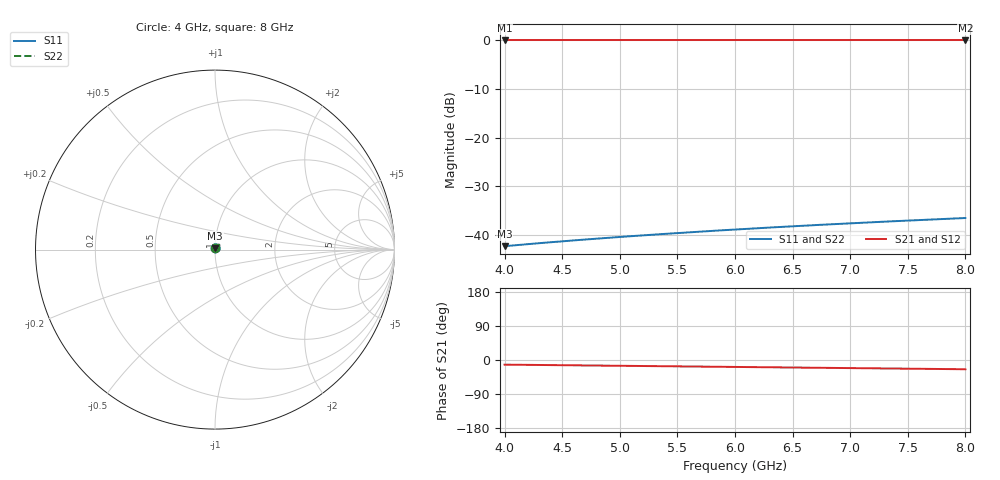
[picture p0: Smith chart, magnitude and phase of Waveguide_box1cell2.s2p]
! Sonnet Data File
! From: emgraph Version : 16.52
! From Emgraph Data: Waveguide
! Data File Written: 09/13/2017 14:16:36
!< HDATE 09/13/2017 14:07:04
!< MDATE 09/13/2017 14:07:04
# GHZ S MA R 50.00000
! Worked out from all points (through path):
!   201 points, 4 GHz to 8 GHz, reference 50 ohm
!   highest |S21| = 0.00 dB at 4 GHz (marker M1); lowest = 0.0 dB at 8 GHz (marker M2)
!   group delay of S21, straight-line fit = 8.47 ps
!   lowest |S11| = -42.4 dB at 4 GHz (marker M3), VSWR 1.02, Z = 50.2 + j0.745 ohm
!   |S11| at or under -10 dB: start of sweep to end of sweep
!   |S22| runs from -42.4 to -36.6 dB; largest |S21 - S12| = 0
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4  0.007594 77.8  1 -12.2  1 -12.2  0.007594 77.8
!< P1 F=4.0 Eeff=(6.44988538 -2.9748e-5) Z0=(51.8300796 1.19533e-4) R=0.0 C=0.0
!< P2 F=4.0 Eeff=(6.44988538 -2.9748e-5) Z0=(51.8300796 1.19533e-4) R=0.0 C=0.0
4.16  0.007892 77.3  1 -12.7  1 -12.7  0.007892 77.3
4.18  0.00793 77.2  1 -12.8  1 -12.8  0.00793 77.2
4.32  0.00819 76.8  1 -13.2  1 -13.2  0.00819 76.8
4.5  0.008524 76.3  1 -13.7  1 -13.7  0.008524 76.3
4.68  0.008857 75.7  1 -14.3  1 -14.3  0.008857 75.7
4.84  0.009153 75.2  1 -14.8  1 -14.8  0.009153 75.2
4.98  0.009411 74.8  1 -15.2  1 -15.2  0.009411 74.8
5.14  0.009705 74.3  1 -15.7  1 -15.7  0.009705 74.3
5.16  0.009741 74.3  1 -15.8  1 -15.8  0.009741 74.3
5.34  0.01007 73.7  0.9999 -16.3  0.9999 -16.3  0.01007 73.7
5.48  0.01033 73.3  0.9999 -16.7  0.9999 -16.7  0.01033 73.3
5.66  0.01065 72.7  0.9999 -17.3  0.9999 -17.3  0.01065 72.7
5.84  0.01098 72.2  0.9999 -17.8  0.9999 -17.8  0.01098 72.2
6  0.01127 71.7  0.9999 -18.3  0.9999 -18.3  0.01127 71.7
6.28  0.01178 70.8  0.9999 -19.2  0.9999 -19.2  0.01178 70.8
6.44  0.01206 70.4  0.9999 -19.6  0.9999 -19.6  0.01206 70.4
6.68  0.01249 69.6  0.9999 -20.4  0.9999 -20.4  0.01249 69.6
6.98  0.01302 68.7  0.9999 -21.3  0.9999 -21.3  0.01302 68.7
7.34  0.01366 67.6  0.9999 -22.4  0.9999 -22.4  0.01366 67.6
7.68  0.01425 66.6  0.9999 -23.4  0.9999 -23.4  0.01425 66.6
8  0.01481 65.6  0.9999 -24.4  0.9999 -24.4  0.01481 65.6
